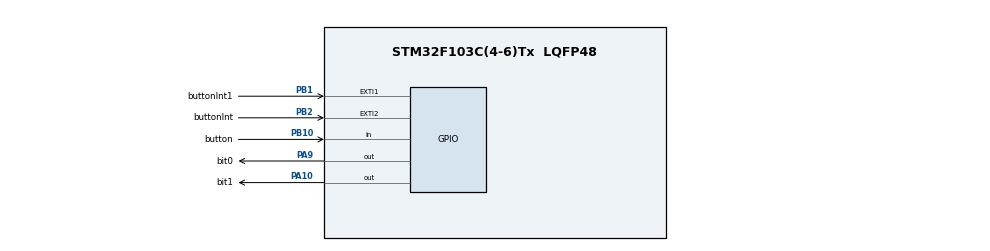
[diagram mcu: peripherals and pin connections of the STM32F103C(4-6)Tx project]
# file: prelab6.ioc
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Mcu.Family=STM32F1
Mcu.Name=STM32F103C(4-6)Tx
Mcu.Package=LQFP48
NVIC.EXTI1_IRQn=true\:0\:0\:false\:false\:true\:true\:true\:true
NVIC.EXTI2_IRQn=true\:2\:0\:true\:false\:true\:true\:true\:true
NVIC.PriorityGroup=NVIC_PRIORITYGROUP_4
PA10.GPIO_Label=bit1
PA10.Signal=GPIO_Output
PA9.GPIO_Label=bit0
PA9.Signal=GPIO_Output
PB1.GPIO_Label=buttonInt1
PB1.Signal=GPXTI1
PB10.GPIO_Label=button
PB10.GPIO_PuPd=GPIO_PULLDOWN
PB10.Signal=GPIO_Input
PB2.GPIO_Label=buttonInt
PB2.Signal=GPXTI2
ProjectManager.HeapSize=0x200
ProjectManager.StackSize=0x400
ProjectManager.TargetToolchain=MDK-ARM V5.32
RCC.APB1Freq_Value=8000000
RCC.APB2Freq_Value=8000000
VP_SYS_VS_ND.Mode=No_Debug
board=custom

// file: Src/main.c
/* USER CODE BEGIN Header */
/**
  ******************************************************************************
  * @file           : main.c
  * @brief          : Main program body
  ******************************************************************************
  * @attention
  *
  * Copyright (c) 2023 STMicroelectronics.
  * All rights reserved.
  *
  * This software is licensed under terms that can be found in the LICENSE file
  * in the root directory of this software component.
  * If no LICENSE file comes with this software, it is provided AS-IS.
  *
  ******************************************************************************
  */
/* USER CODE END Header */
#include "main.h"

/* USER CODE BEGIN PV */
   uint16_t current_number = 0;

/* USER CODE END PV */

void SystemClock_Config(void);
static void MX_GPIO_Init(void);

int main(void)
{

  /* MCU Configuration--------------------------------------------------------*/

  /* Reset of all peripherals, Initializes the Flash interface and the Systick. */
  HAL_Init();

  /* Configure the system clock */
  SystemClock_Config();

  /* Initialize all configured peripherals */
  MX_GPIO_Init();

  /* Infinite loop */
  /* USER CODE BEGIN WHILE */
	GPIO_PinState button_value_current = GPIO_PIN_RESET;
	GPIO_PinState button_value_previous = GPIO_PIN_RESET;

  while (1)
  {
		// check if the button pressed
		button_value_previous = button_value_current;
	  button_value_current= HAL_GPIO_ReadPin(button_GPIO_Port, button_Pin);
		if(button_value_current== button_value_previous || button_value_current == GPIO_PIN_RESET)
			continue;
		// button is pressed
		button_value_previous = button_value_current;

		// if the button is pressed , increment the current number
		current_number++ ;
		update_leds(current_number);

    /* USER CODE END WHILE */

  }
}

void SystemClock_Config(void)
{
  RCC_OscInitTypeDef RCC_OscInitStruct = {0};
  RCC_ClkInitTypeDef RCC_ClkInitStruct = {0};

  /** Initializes the RCC Oscillators according to the specified parameters
  * in the RCC_OscInitTypeDef structure.
  */
  RCC_OscInitStruct.OscillatorType = RCC_OSCILLATORTYPE_HSI;
  RCC_OscInitStruct.HSIState = RCC_HSI_ON;
  RCC_OscInitStruct.HSICalibrationValue = RCC_HSICALIBRATION_DEFAULT;
  RCC_OscInitStruct.PLL.PLLState = RCC_PLL_NONE;
  if (HAL_RCC_OscConfig(&RCC_OscInitStruct) != HAL_OK)
  {
    Error_Handler();
  }

  /** Initializes the CPU, AHB and APB buses clocks
  */
  RCC_ClkInitStruct.ClockType = RCC_CLOCKTYPE_HCLK|RCC_CLOCKTYPE_SYSCLK
                              |RCC_CLOCKTYPE_PCLK1|RCC_CLOCKTYPE_PCLK2;
  RCC_ClkInitStruct.SYSCLKSource = RCC_SYSCLKSOURCE_HSI;
  RCC_ClkInitStruct.AHBCLKDivider = RCC_SYSCLK_DIV1;
  RCC_ClkInitStruct.APB1CLKDivider = RCC_HCLK_DIV1;
  RCC_ClkInitStruct.APB2CLKDivider = RCC_HCLK_DIV1;

  if (HAL_RCC_ClockConfig(&RCC_ClkInitStruct, FLASH_LATENCY_0) != HAL_OK)
  {
    Error_Handler();
  }
}

static void MX_GPIO_Init(void)
{
  GPIO_InitTypeDef GPIO_InitStruct = {0};

  /* GPIO Ports Clock Enable */
  __HAL_RCC_GPIOB_CLK_ENABLE();
  __HAL_RCC_GPIOA_CLK_ENABLE();

  /*Configure GPIO pin Output Level */
  HAL_GPIO_WritePin(GPIOA, bit0_Pin|bit1_Pin, GPIO_PIN_RESET);

  /*Configure GPIO pins : buttonInt1_Pin buttonInt_Pin */
  GPIO_InitStruct.Pin = buttonInt1_Pin|buttonInt_Pin;
  GPIO_InitStruct.Mode = GPIO_MODE_IT_RISING;
  GPIO_InitStruct.Pull = GPIO_NOPULL;
  HAL_GPIO_Init(GPIOB, &GPIO_InitStruct);

  /*Configure GPIO pin : button_Pin */
  GPIO_InitStruct.Pin = button_Pin;
  GPIO_InitStruct.Mode = GPIO_MODE_INPUT;
  GPIO_InitStruct.Pull = GPIO_PULLDOWN;
  HAL_GPIO_Init(button_GPIO_Port, &GPIO_InitStruct);

  /*Configure GPIO pins : bit0_Pin bit1_Pin */
  GPIO_InitStruct.Pin = bit0_Pin|bit1_Pin;
  GPIO_InitStruct.Mode = GPIO_MODE_OUTPUT_PP;
  GPIO_InitStruct.Pull = GPIO_NOPULL;
  GPIO_InitStruct.Speed = GPIO_SPEED_FREQ_LOW;
  HAL_GPIO_Init(GPIOA, &GPIO_InitStruct);

  /* EXTI interrupt init*/
  HAL_NVIC_SetPriority(EXTI1_IRQn, 0, 0);
  HAL_NVIC_EnableIRQ(EXTI1_IRQn);

  HAL_NVIC_SetPriority(EXTI2_IRQn, 2, 0);
  HAL_NVIC_EnableIRQ(EXTI2_IRQn);

}

/* USER CODE BEGIN 4 */
void update_leds(uint16_t current_number){
		GPIO_PinState bit0_value,bit1_value, bit2_value;
		bit0_value = (current_number & (uint16_t)1) ? GPIO_PIN_SET : GPIO_PIN_RESET;
		bit1_value = (current_number & (uint16_t)2) ? GPIO_PIN_SET : GPIO_PIN_RESET; //ob00010 next one will be 8 (not 3)

		// Turn on/off LED according to the current number
		//HAL_GPIO_WritePin(bit0_GPIO_Port, bit0_Pin , bit0_value);
		//HAL_GPIO_WritePin(bit1_GPIO_Port, bit1_Pin , bit1_value);
		 bit0_GPIO_Port ->ODR = ( bit0_value ? bit0_Pin :0 ) | ( bit1_value ? bit1_Pin :0 ) ;
}

/* USER CODE END 4 */

void Error_Handler(void)
{
  __disable_irq();
  while (1)
  {
  }
}
